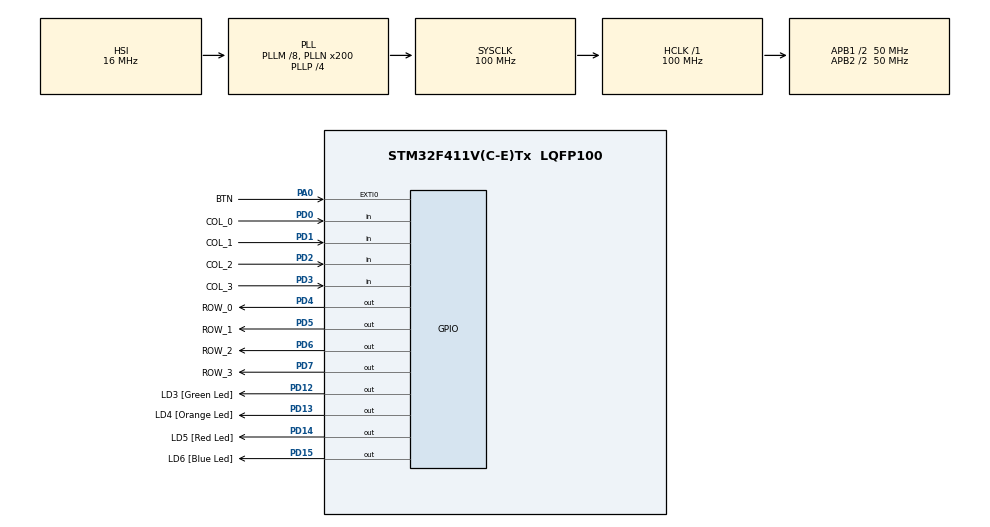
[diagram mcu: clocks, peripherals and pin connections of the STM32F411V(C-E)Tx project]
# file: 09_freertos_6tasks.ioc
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Mcu.Family=STM32F4
Mcu.Name=STM32F411V(C-E)Tx
Mcu.Package=LQFP100
NVIC.EXTI0_IRQn=true\:7\:0\:true\:false\:true\:true\:true
NVIC.PriorityGroup=NVIC_PRIORITYGROUP_4
NVIC.TIM5_IRQn=true\:15\:0\:true\:false\:true\:false\:true
NVIC.TimeBase=TIM5_IRQn
NVIC.TimeBaseIP=TIM5
PA0-WKUP.GPIO_Label=BTN
PA0-WKUP.GPIO_PuPd=GPIO_PULLDOWN
PA0-WKUP.Signal=GPXTI0
PA13.GPIO_Label=SWDIO
PA13.Signal=SYS_JTMS-SWDIO
PA14.GPIO_Label=SWCLK
PA14.Signal=SYS_JTCK-SWCLK
PB3.GPIO_Label=SWO
PB3.Signal=SYS_JTDO-SWO
PD0.GPIO_Label=COL_0
PD0.GPIO_PuPd=GPIO_PULLDOWN
PD0.Signal=GPIO_Input
PD1.GPIO_Label=COL_1
PD1.GPIO_PuPd=GPIO_PULLDOWN
PD1.Signal=GPIO_Input
PD12.GPIO_Label=LD3 [Green Led]
PD12.GPIO_PuPd=GPIO_NOPULL
PD12.GPIO_Speed=GPIO_SPEED_FREQ_HIGH
PD12.Signal=GPIO_Output
PD13.GPIO_Label=LD4 [Orange Led]
PD13.GPIO_PuPd=GPIO_NOPULL
PD13.GPIO_Speed=GPIO_SPEED_FREQ_HIGH
PD13.Signal=GPIO_Output
PD14.GPIO_Label=LD5 [Red Led]
PD14.GPIO_PuPd=GPIO_NOPULL
PD14.GPIO_Speed=GPIO_SPEED_FREQ_HIGH
PD14.Signal=GPIO_Output
PD15.GPIO_Label=LD6 [Blue Led]
PD15.GPIO_PuPd=GPIO_NOPULL
PD15.GPIO_Speed=GPIO_SPEED_FREQ_HIGH
PD15.Signal=GPIO_Output
PD2.GPIO_Label=COL_2
PD2.GPIO_PuPd=GPIO_PULLDOWN
PD2.Signal=GPIO_Input
PD3.GPIO_Label=COL_3
PD3.GPIO_PuPd=GPIO_PULLDOWN
PD3.Signal=GPIO_Input
PD4.GPIO_Label=ROW_0
PD4.GPIO_PuPd=GPIO_PULLDOWN
PD4.GPIO_Speed=GPIO_SPEED_FREQ_HIGH
PD4.Signal=GPIO_Output
PD5.GPIO_Label=ROW_1
PD5.GPIO_PuPd=GPIO_PULLDOWN
PD5.GPIO_Speed=GPIO_SPEED_FREQ_HIGH
PD5.Signal=GPIO_Output
PD6.GPIO_Label=ROW_2
PD6.GPIO_PuPd=GPIO_PULLDOWN
PD6.GPIO_Speed=GPIO_SPEED_FREQ_HIGH
PD6.Signal=GPIO_Output
PD7.GPIO_Label=ROW_3
PD7.GPIO_PuPd=GPIO_PULLDOWN
PD7.GPIO_Speed=GPIO_SPEED_FREQ_HIGH
PD7.Signal=GPIO_Output
ProjectManager.HeapSize=0x200
ProjectManager.StackSize=0x400
ProjectManager.TargetToolchain=STM32CubeIDE
RCC.48MHZClocksFreq_Value=50000000
RCC.AHBFreq_Value=100000000
RCC.APB1CLKDivider=RCC_HCLK_DIV2
RCC.APB1Freq_Value=50000000
RCC.APB1TimFreq_Value=100000000
RCC.APB2CLKDivider=RCC_HCLK_DIV2
RCC.APB2Freq_Value=50000000
RCC.APB2TimFreq_Value=100000000
RCC.CortexFreq_Value=100000000
RCC.HCLKFreq_Value=100000000
RCC.HSE_VALUE=8000000
RCC.HSI_VALUE=16000000
RCC.LSE_VALUE=32768
RCC.PLLI2SM=5
RCC.PLLI2SN=200
RCC.PLLM=8
RCC.PLLN=200
RCC.PLLP=RCC_PLLP_DIV4
RCC.PLLQ=8
RCC.SYSCLKFreq_VALUE=100000000
RCC.SYSCLKSource=RCC_SYSCLKSOURCE_PLLCLK
RCC.VCOOutputFreq_Value=400000000
VP_SYS_VS_tim5.Mode=TIM5
board=STM32F411E-DISCO

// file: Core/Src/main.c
/* USER CODE BEGIN Header */
/**
 ******************************************************************************
 * @file           : main.c
 * @brief          : Main program body
 ******************************************************************************
 * @attention
 *
 * Copyright (c) 2023 STMicroelectronics.
 * All rights reserved.
 *
 * This software is licensed under terms that can be found in the LICENSE file
 * in the root directory of this software component.
 * If no LICENSE file comes with this software, it is provided AS-IS.
 *
 ******************************************************************************
 */
/* USER CODE END Header */
#include "main.h"

/* USER CODE BEGIN Includes */
#include "FreeRTOS.h"
#include "task.h"
#include <stdio.h>
/* USER CODE END Includes */

/* USER CODE BEGIN PV */
#define DWT_CTRL    (*(volatile uint32_t*)0xE0001000)
volatile TaskHandle_t next_task_handle;

TaskHandle_t led_green;
TaskHandle_t led_orange;
TaskHandle_t led_red;
TaskHandle_t led_blue;
TaskHandle_t keypad;

/* USER CODE END PV */

void SystemClock_Config(void);
static void MX_GPIO_Init(void);
/* USER CODE BEGIN PFP */

extern void SEGGER_SYSVIEW_Conf(void);
extern void SEGGER_SYSVIEW_Start(void);

static void handle_led_green(void *parameters);
static void handle_led_orange(void *parameters);
static void handle_led_red(void *parameters);
static void handle_led_blue(void *parameters);

void btn_user(void);
static void handle_keypad(void *parameters);

/* USER CODE END PFP */

/* USER CODE BEGIN 0 */
extern void SEGGER_UART_init(uint32_t);

/* USER CODE END 0 */

int main(void) {
	/* USER CODE BEGIN 1 */

	BaseType_t status;
	/* USER CODE END 1 */

	/* MCU Configuration--------------------------------------------------------*/

	/* Reset of all peripherals, Initializes the Flash interface and the Systick. */
	HAL_Init();

	/* Configure the system clock */
	SystemClock_Config();

	/* Initialize all configured peripherals */
	MX_GPIO_Init();
	/* USER CODE BEGIN 2 */
	//Enable the CYCCNT counter.
	DWT_CTRL |= (1 << 0);

	SEGGER_SYSVIEW_Conf();
	SEGGER_SYSVIEW_Start();

	SEGGER_UART_init(500000);

	status = xTaskCreate(handle_led_green, "led_green", 200,
			"this is task led green", 3, &led_green);
	configASSERT(status == pdPASS);
	status = xTaskCreate(handle_led_orange, "led_orange", 200,
			"this is task led orange", 3, &led_orange);
	configASSERT(status == pdPASS);
	status = xTaskCreate(handle_led_red, "led_red", 200, "this is task led red",
			3, &led_red);
	configASSERT(status == pdPASS);
	status = xTaskCreate(handle_led_blue, "led_blue", 200,
			"this is task led blue", 3, &led_blue);
	configASSERT(status == pdPASS);

	status = xTaskCreate(handle_keypad, "keypad_task", 200,
			"this is task keypad", 2, &keypad);
	configASSERT(status == pdPASS);

	vTaskStartScheduler();
	/* USER CODE END 2 */

	/* Infinite loop */
	while (1) {

	}
}

void SystemClock_Config(void) {
	RCC_OscInitTypeDef RCC_OscInitStruct = { 0 };
	RCC_ClkInitTypeDef RCC_ClkInitStruct = { 0 };

	/** Configure the main internal regulator output voltage
	 */
	__HAL_RCC_PWR_CLK_ENABLE();
	__HAL_PWR_VOLTAGESCALING_CONFIG(PWR_REGULATOR_VOLTAGE_SCALE1);
	/** Initializes the RCC Oscillators according to the specified parameters
	 * in the RCC_OscInitTypeDef structure.
	 */
	RCC_OscInitStruct.OscillatorType = RCC_OSCILLATORTYPE_HSI;
	RCC_OscInitStruct.HSIState = RCC_HSI_ON;
	RCC_OscInitStruct.HSICalibrationValue = RCC_HSICALIBRATION_DEFAULT;
	RCC_OscInitStruct.PLL.PLLState = RCC_PLL_ON;
	RCC_OscInitStruct.PLL.PLLSource = RCC_PLLSOURCE_HSI;
	RCC_OscInitStruct.PLL.PLLM = 8;
	RCC_OscInitStruct.PLL.PLLN = 200;
	RCC_OscInitStruct.PLL.PLLP = RCC_PLLP_DIV4;
	RCC_OscInitStruct.PLL.PLLQ = 8;
	if (HAL_RCC_OscConfig(&RCC_OscInitStruct) != HAL_OK) {
		Error_Handler();
	}
	/** Initializes the CPU, AHB and APB buses clocks
	 */
	RCC_ClkInitStruct.ClockType = RCC_CLOCKTYPE_HCLK | RCC_CLOCKTYPE_SYSCLK
			| RCC_CLOCKTYPE_PCLK1 | RCC_CLOCKTYPE_PCLK2;
	RCC_ClkInitStruct.SYSCLKSource = RCC_SYSCLKSOURCE_PLLCLK;
	RCC_ClkInitStruct.AHBCLKDivider = RCC_SYSCLK_DIV1;
	RCC_ClkInitStruct.APB1CLKDivider = RCC_HCLK_DIV2;
	RCC_ClkInitStruct.APB2CLKDivider = RCC_HCLK_DIV2;

	if (HAL_RCC_ClockConfig(&RCC_ClkInitStruct, FLASH_LATENCY_3) != HAL_OK) {
		Error_Handler();
	}
}

static void MX_GPIO_Init(void) {
	GPIO_InitTypeDef GPIO_InitStruct = { 0 };

	/* GPIO Ports Clock Enable */
	__HAL_RCC_GPIOA_CLK_ENABLE();
	__HAL_RCC_GPIOD_CLK_ENABLE();
	__HAL_RCC_GPIOB_CLK_ENABLE();

	/*Configure GPIO pin Output Level */
	HAL_GPIO_WritePin(GPIOD,
			LD3_Pin | LD4_Pin | LD5_Pin | LD6_Pin | ROW_0_Pin | ROW_1_Pin
					| ROW_2_Pin | ROW_3_Pin, GPIO_PIN_RESET);

	/*Configure GPIO pin : BTN_Pin */
	GPIO_InitStruct.Pin = BTN_Pin;
	GPIO_InitStruct.Mode = GPIO_MODE_IT_RISING;
	GPIO_InitStruct.Pull = GPIO_PULLDOWN;
	HAL_GPIO_Init(BTN_GPIO_Port, &GPIO_InitStruct);

	/*Configure GPIO pins : LD3_Pin LD4_Pin LD5_Pin LD6_Pin */
	GPIO_InitStruct.Pin = LD3_Pin | LD4_Pin | LD5_Pin | LD6_Pin;
	GPIO_InitStruct.Mode = GPIO_MODE_OUTPUT_PP;
	GPIO_InitStruct.Pull = GPIO_NOPULL;
	GPIO_InitStruct.Speed = GPIO_SPEED_FREQ_HIGH;
	HAL_GPIO_Init(GPIOD, &GPIO_InitStruct);

	/*Configure GPIO pins : COL_0_Pin COL_1_Pin COL_2_Pin COL_3_Pin */
	GPIO_InitStruct.Pin = COL_0_Pin | COL_1_Pin | COL_2_Pin | COL_3_Pin;
	GPIO_InitStruct.Mode = GPIO_MODE_INPUT;
	GPIO_InitStruct.Pull = GPIO_PULLDOWN;
	HAL_GPIO_Init(GPIOD, &GPIO_InitStruct);

	/*Configure GPIO pins : ROW_0_Pin ROW_1_Pin ROW_2_Pin ROW_3_Pin */
	GPIO_InitStruct.Pin = ROW_0_Pin | ROW_1_Pin | ROW_2_Pin | ROW_3_Pin;
	GPIO_InitStruct.Mode = GPIO_MODE_OUTPUT_PP;
	GPIO_InitStruct.Pull = GPIO_PULLDOWN;
	GPIO_InitStruct.Speed = GPIO_SPEED_FREQ_HIGH;
	HAL_GPIO_Init(GPIOD, &GPIO_InitStruct);

	/* EXTI interrupt init*/
	HAL_NVIC_SetPriority(EXTI0_IRQn, 7, 0);
	HAL_NVIC_EnableIRQ(EXTI0_IRQn);

}

/* USER CODE BEGIN 4 */
void handle_led_green(void *parameters) {
	char msg[100];
	BaseType_t notify_status = 0;

	while (1) {
		snprintf(msg, 100, "%s\n", (char*) parameters);
		SEGGER_SYSVIEW_PrintfTarget(msg);

		notify_status = xTaskNotifyWait(0, 0, NULL, portMAX_DELAY);
		if (notify_status == pdTRUE) {
//			next_task_handle = led_orange;
			SEGGER_SYSVIEW_PrintfTarget("execute toggle led_green");
			HAL_GPIO_TogglePin(GPIOD, LD3_Pin);
		}
	}
}

void handle_led_orange(void *parameters) {
	char msg[100];
	BaseType_t notify_status = 0;

	while (1) {
		snprintf(msg, 100, "%s\n", (char*) parameters);
		SEGGER_SYSVIEW_PrintfTarget(msg);

		notify_status = xTaskNotifyWait(0, 0, NULL, portMAX_DELAY);
		if (notify_status == pdTRUE) {
//			next_task_handle = led_red;
			SEGGER_SYSVIEW_PrintfTarget("execute toggle led_orange");

			HAL_GPIO_TogglePin(GPIOD, LD4_Pin);
		}
	}
}

void handle_led_red(void *parameters) {
	char msg[100];
	BaseType_t notify_status = 0;

	while (1) {
		snprintf(msg, 100, "%s\n", (char*) parameters);
		SEGGER_SYSVIEW_PrintfTarget(msg);
		notify_status = xTaskNotifyWait(0, 0, NULL, portMAX_DELAY);
		if (notify_status == pdTRUE) {
//			next_task_handle = led_blue;
			SEGGER_SYSVIEW_PrintfTarget("execute toggle led_red");

			HAL_GPIO_TogglePin(GPIOD, LD5_Pin);
		}
	}
}
void handle_led_blue(void *parameters) {
	char msg[100];
	BaseType_t notify_status = 0;

	while (1) {
		snprintf(msg, 100, "%s\n", (char*) parameters);
		SEGGER_SYSVIEW_PrintfTarget(msg);

		notify_status = xTaskNotifyWait(0, 0, NULL, portMAX_DELAY);
		if (notify_status == pdTRUE) {
//			next_task_handle = led_green;
			SEGGER_SYSVIEW_PrintfTarget("execute toggle led_blue");

			HAL_GPIO_TogglePin(GPIOD, LD6_Pin);
		}
	}
}

void btn_user(void) {
	BaseType_t pxHigherPriorityTaskWoken = pdFALSE;

	traceISR_ENTER();
	xTaskNotifyFromISR(next_task_handle, 0, eNoAction,
			&pxHigherPriorityTaskWoken);

	/* once the ISR exits, the below macro makes higher priority task which got unblocked to resume on the CPU */
	portYIELD_FROM_ISR(pxHigherPriorityTaskWoken);

	traceISR_EXIT();
}

void handle_keypad(void *parameters) {
	char key;

	while (1) {
		key = keypad_read();
		switch (key) {
		case '0':

			break;
		case '1':
			SEGGER_SYSVIEW_PrintfTarget("toggle led green ");
			next_task_handle = led_green;
			xTaskNotify(next_task_handle, 0, eNoAction);
			taskYIELD()
			;

			break;
		case '2':
			SEGGER_SYSVIEW_PrintfTarget("toggle led_orange ");

			next_task_handle = led_orange;
			xTaskNotify(next_task_handle, 0, eNoAction);
			taskYIELD()
			;

			break;
		case '3':
			SEGGER_SYSVIEW_PrintfTarget("toggle led_red ");
			next_task_handle = led_red;
			xTaskNotify(next_task_handle, 0, eNoAction);
			taskYIELD()
			;
			break;
		case '4':
			SEGGER_SYSVIEW_PrintfTarget("toggle led_blue ");
			next_task_handle = led_blue;
			xTaskNotify(next_task_handle, 0, eNoAction);
			taskYIELD()
			;
			break;
		case '5':
			break;
		case '6':
			break;
		case '7':
			break;
		case '8':
			break;
		case '9':
			break;
		default:
			break;
		}
		vTaskDelay(pdMS_TO_TICKS(10));
	}
}
/* USER CODE END 4 */

void HAL_TIM_PeriodElapsedCallback(TIM_HandleTypeDef *htim) {
	if (htim->Instance == TIM5) {
		HAL_IncTick();
	}
}

void Error_Handler(void) {
	__disable_irq();
	while (1) {
	}
}
